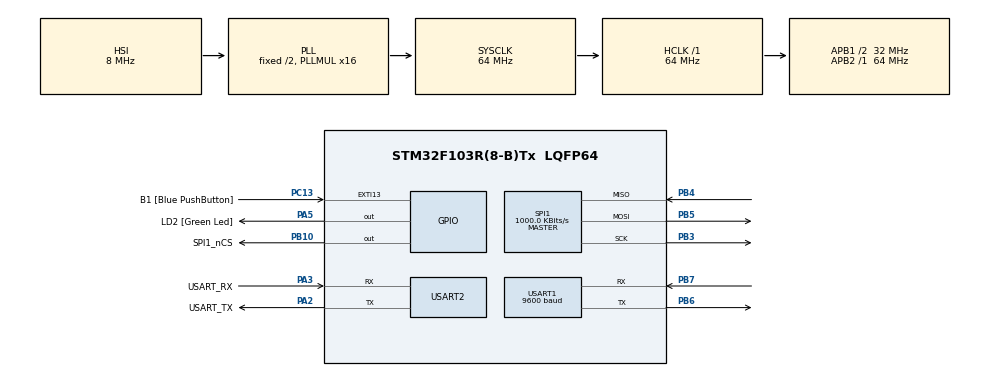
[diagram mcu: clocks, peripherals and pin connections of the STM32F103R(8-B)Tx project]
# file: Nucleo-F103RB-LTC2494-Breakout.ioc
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Mcu.Family=STM32F1
Mcu.Name=STM32F103R(8-B)Tx
Mcu.Package=LQFP64
NVIC.EXTI15_10_IRQn=true\:0\:0\:false\:false\:true\:true\:true\:true
NVIC.PriorityGroup=NVIC_PRIORITYGROUP_4
NVIC.USART1_IRQn=true\:0\:0\:false\:false\:true\:true\:true\:true
PA13.GPIO_Label=TMS
PA13.Mode=Serial_Wire
PA13.Signal=SYS_JTMS-SWDIO
PA14.GPIO_Label=TCK
PA14.Mode=Serial_Wire
PA14.Signal=SYS_JTCK-SWCLK
PA2.GPIO_Label=USART_TX
PA2.GPIO_Mode=GPIO_MODE_AF_PP
PA2.GPIO_PuPd=GPIO_NOPULL
PA2.GPIO_Speed=GPIO_SPEED_FREQ_LOW
PA2.Mode=Asynchronous
PA2.Signal=USART2_TX
PA3.GPIO_Label=USART_RX
PA3.GPIO_Mode=GPIO_MODE_AF_PP
PA3.GPIO_PuPd=GPIO_NOPULL
PA3.GPIO_Speed=GPIO_SPEED_FREQ_LOW
PA3.Mode=Asynchronous
PA3.Signal=USART2_RX
PA5.GPIO_Label=LD2 [Green Led]
PA5.GPIO_ModeDefaultOutputPP=GPIO_MODE_OUTPUT_PP
PA5.GPIO_PuPd=GPIO_NOPULL
PA5.GPIO_Speed=GPIO_SPEED_FREQ_LOW
PA5.Signal=GPIO_Output
PB10.GPIO_Label=SPI1_nCS
PB10.Signal=GPIO_Output
PB3.Mode=Full_Duplex_Master
PB3.Signal=SPI1_SCK
PB4.Mode=Full_Duplex_Master
PB4.Signal=SPI1_MISO
PB5.Mode=Full_Duplex_Master
PB5.Signal=SPI1_MOSI
PB6.Mode=Asynchronous
PB6.Signal=USART1_TX
PB7.Mode=Asynchronous
PB7.Signal=USART1_RX
PC13-TAMPER-RTC.GPIO_Label=B1 [Blue PushButton]
PC13-TAMPER-RTC.GPIO_PuPd=GPIO_NOPULL
PC13-TAMPER-RTC.Signal=GPXTI13
PC14-OSC32_IN.Mode=LSE-External-Oscillator
PC14-OSC32_IN.Signal=RCC_OSC32_IN
PC15-OSC32_OUT.Mode=LSE-External-Oscillator
PC15-OSC32_OUT.Signal=RCC_OSC32_OUT
PD0-OSC_IN.Mode=HSE-External-Clock-Source
PD0-OSC_IN.Signal=RCC_OSC_IN
PD1-OSC_OUT.Mode=HSE-External-Clock-Source
PD1-OSC_OUT.Signal=RCC_OSC_OUT
ProjectManager.HeapSize=0x200
ProjectManager.StackSize=0x400
ProjectManager.TargetToolchain=STM32CubeIDE
RCC.AHBFreq_Value=64000000
RCC.APB1CLKDivider=RCC_HCLK_DIV2
RCC.APB1Freq_Value=32000000
RCC.APB1TimFreq_Value=64000000
RCC.APB2Freq_Value=64000000
RCC.APB2TimFreq_Value=64000000
RCC.HCLKFreq_Value=64000000
RCC.PLLMUL=RCC_PLL_MUL16
RCC.RTCClockSelection=RCC_RTCCLKSOURCE_LSE
RCC.SYSCLKFreq_VALUE=64000000
RCC.SYSCLKSource=RCC_SYSCLKSOURCE_PLLCLK
RCC.USBFreq_Value=64000000
SPI1.BaudRatePrescaler=SPI_BAUDRATEPRESCALER_64
SPI1.CalculateBaudRate=1000.0 KBits/s
SPI1.DataSize=SPI_DATASIZE_8BIT
SPI1.Direction=SPI_DIRECTION_2LINES
SPI1.Mode=SPI_MODE_MASTER
SPI1.VirtualType=VM_MASTER
USART1.BaudRate=9600
USART1.VirtualMode=VM_ASYNC
USART2.VirtualMode=VM_ASYNC
board=NUCLEO-F103RB

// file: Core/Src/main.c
/* USER CODE BEGIN Header */
/**
  ******************************************************************************
  * @file           : main.c
  * @brief          : Main program body
  ******************************************************************************
  * @attention
  *
  * Copyright (c) 2026 STMicroelectronics.
  * All rights reserved.
  *
  * This software is licensed under terms that can be found in the LICENSE file
  * in the root directory of this software component.
  * If no LICENSE file comes with this software, it is provided AS-IS.
  *
  ******************************************************************************
  */
/* USER CODE END Header */
#include "main.h"
#include "spi.h"
#include "usart.h"
#include "gpio.h"

/* USER CODE BEGIN Includes */

#include "Drivers/LTC2494/LTC2494.h"

/* USER CODE END Includes */

void SystemClock_Config(void);

int main(void)
{

  /* MCU Configuration--------------------------------------------------------*/

  /* Reset of all peripherals, Initializes the Flash interface and the Systick. */
  HAL_Init();

  /* Configure the system clock */
  SystemClock_Config();

  /* Initialize all configured peripherals */
  MX_GPIO_Init();
  MX_USART2_UART_Init();
  MX_SPI1_Init();
  MX_USART1_UART_Init();
  /* USER CODE BEGIN 2 */

// Wrapper for STM32 SPI
bool my_spi_transfer(uint8_t *tx, uint8_t *rx, uint16_t len) {
    HAL_GPIO_WritePin(SPI1_nCS_GPIO_Port, SPI1_nCS_Pin, GPIO_PIN_RESET); // CS Low
    HAL_StatusTypeDef status = HAL_SPI_TransmitReceive(&hspi1, tx, rx, len, 100);
    HAL_GPIO_WritePin(SPI1_nCS_GPIO_Port, SPI1_nCS_Pin, GPIO_PIN_SET);   // CS High
    return (status == HAL_OK);
}

void process_adc(void) {
    ltc2494_config_t adc_cfg = {
        .channel_pair = 0,               // CH0-CH1
        .polarity_swap = false,          // CH0 is +, CH1 is -
        .gain = LTC2494_GAIN_1,
        .rejection = LTC2494_REJECT_50_60HZ
    };

    int32_t result = 0;

    // Note: The first call triggers the first conversion.
    // The result will be valid on the SECOND call.
    if (ltc2494_transceive(my_spi_transfer, &adc_cfg, &result)) {
        // Use your 16-bit result here
    }
}
  /* USER CODE END 2 */

  /* Infinite loop */
  while (1)
  {

  }
}

void SystemClock_Config(void)
{
  RCC_OscInitTypeDef RCC_OscInitStruct = {0};
  RCC_ClkInitTypeDef RCC_ClkInitStruct = {0};

  /** Initializes the RCC Oscillators according to the specified parameters
  * in the RCC_OscInitTypeDef structure.
  */
  RCC_OscInitStruct.OscillatorType = RCC_OSCILLATORTYPE_HSI;
  RCC_OscInitStruct.HSIState = RCC_HSI_ON;
  RCC_OscInitStruct.HSICalibrationValue = RCC_HSICALIBRATION_DEFAULT;
  RCC_OscInitStruct.PLL.PLLState = RCC_PLL_ON;
  RCC_OscInitStruct.PLL.PLLSource = RCC_PLLSOURCE_HSI_DIV2;
  RCC_OscInitStruct.PLL.PLLMUL = RCC_PLL_MUL16;
  if (HAL_RCC_OscConfig(&RCC_OscInitStruct) != HAL_OK)
  {
    Error_Handler();
  }

  /** Initializes the CPU, AHB and APB buses clocks
  */
  RCC_ClkInitStruct.ClockType = RCC_CLOCKTYPE_HCLK|RCC_CLOCKTYPE_SYSCLK
                              |RCC_CLOCKTYPE_PCLK1|RCC_CLOCKTYPE_PCLK2;
  RCC_ClkInitStruct.SYSCLKSource = RCC_SYSCLKSOURCE_PLLCLK;
  RCC_ClkInitStruct.AHBCLKDivider = RCC_SYSCLK_DIV1;
  RCC_ClkInitStruct.APB1CLKDivider = RCC_HCLK_DIV2;
  RCC_ClkInitStruct.APB2CLKDivider = RCC_HCLK_DIV1;

  if (HAL_RCC_ClockConfig(&RCC_ClkInitStruct, FLASH_LATENCY_2) != HAL_OK)
  {
    Error_Handler();
  }
}

void Error_Handler(void)
{
  __disable_irq();
  while (1)
  {
  }
}
